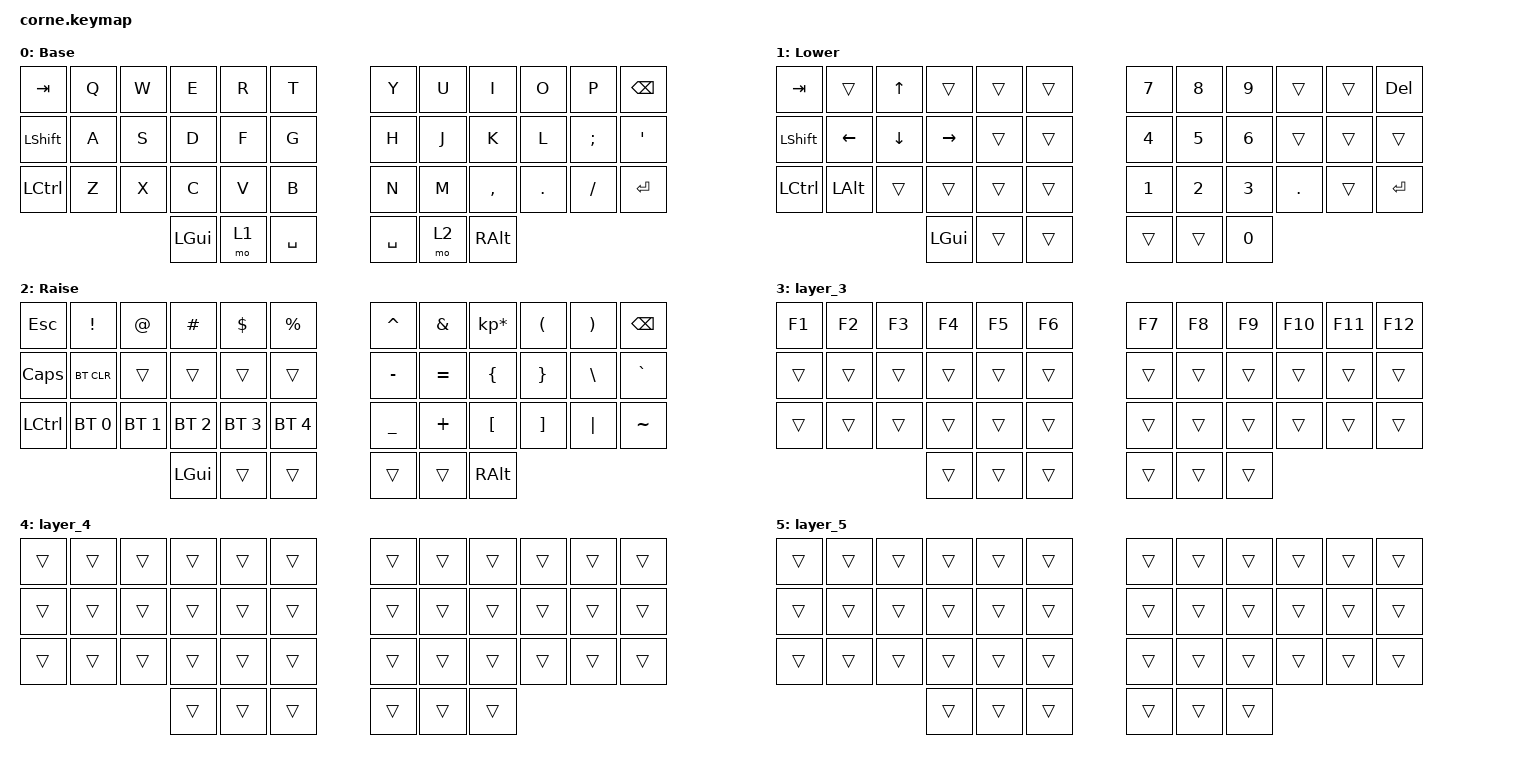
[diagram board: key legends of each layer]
/*
 * Copyright (c) 2020 The ZMK Contributors
 *
 * SPDX-License-Identifier: MIT
 */

#include <behaviors.dtsi>
#include <dt-bindings/zmk/bt.h>
#include <dt-bindings/zmk/keys.h>

/ {
    keymap {
        compatible = "zmk,keymap";

        default_layer {
            // -----------------------------------------------------------------------------------------
            // |  TAB |  Q  |  W  |  E  |  R  |  T  |   |  Y  |  U   |  I  |  O  |  P  | BKSP |
            // | CTRL |  A  |  S  |  D  |  F  |  G  |   |  H  |  J   |  K  |  L  |  ;  |  '   |
            // | SHFT |  Z  |  X  |  C  |  V  |  B  |   |  N  |  M   |  ,  |  .  |  /  | ESC  |
            //                    | GUI | LWR | SPC |   | ENT | RSE  | ALT |

            label = "Base";
            bindings = <
&kp TAB           &kp Q  &kp W  &kp E     &kp R  &kp T        &kp Y      &kp U  &kp I      &kp O    &kp P     &kp BSPC
&kp LSHFT         &kp A  &kp S  &kp D     &kp F  &kp G        &kp H      &kp J  &kp K      &kp L    &kp SEMI  &kp APOSTROPHE
&kp LEFT_CONTROL  &kp Z  &kp X  &kp C     &kp V  &kp B        &kp N      &kp M  &kp COMMA  &kp DOT  &kp FSLH  &kp ENTER
                                &kp LGUI  &mo 1  &kp SPACE    &kp SPACE  &mo 2  &kp RALT
            >;
        };

        lower_layer {
            // -----------------------------------------------------------------------------------------
            // |  TAB |  1  |  2  |  3  |  4  |  5  |   |  6  |  7  |  8  |  9  |  0  | BKSP |
            // | BTCLR| BT1 | BT2 | BT3 | BT4 | BT5 |   | LFT | DWN |  UP | RGT |     |      |
            // | SHFT |     |     |     |     |     |   |     |     |     |     |     |      |
            //                    | GUI |     | SPC |   | ENT |     | ALT |

            label = "Lower";
            bindings = <
&kp TAB         &trans        &kp UP_ARROW  &trans     &trans  &trans    &kp N7        &kp N8        &kp N9        &trans   &trans  &kp DELETE
&kp LEFT_SHIFT  &kp LEFT      &kp DOWN      &kp RIGHT  &trans  &trans    &kp NUMBER_4  &kp N5        &kp NUMBER_6  &trans   &trans  &trans
&kp LCTRL       &kp LEFT_ALT  &trans        &trans     &trans  &trans    &kp NUMBER_1  &kp NUMBER_2  &kp NUMBER_3  &kp DOT  &trans  &kp ENTER
                                            &kp LGUI   &trans  &trans    &trans        &trans        &kp N0
            >;
        };

        raise_layer {
            // -----------------------------------------------------------------------------------------
            // |  TAB |  !  |  @  |  #  |  $  |  %  |   |  ^  |  &  |  *  |  (  |  )  | BKSP |
            // | CTRL |     |     |     |     |     |   |  -  |  =  |  [  |  ]  |  \  |  `   |
            // | SHFT |     |     |     |     |     |   |  _  |  +  |  {  |  }  | "|" |  ~   |
            //                    | GUI |     | SPC |   | ENT |     | ALT |

            label = "Raise";
            bindings = <
&kp ESCAPE  &kp EXCL      &kp AT        &kp HASH      &kp DLLR      &kp PRCNT       &kp CARET  &kp AMPS   &kp KP_MULTIPLY   &kp LPAR           &kp RPAR  &kp BSPC
&kp CAPS    &bt BT_CLR    &trans        &trans        &trans        &trans          &kp MINUS  &kp EQUAL  &kp LEFT_BRACE    &kp RIGHT_BRACE    &kp BSLH  &kp GRAVE
&kp LCTRL   &bt BT_SEL 0  &bt BT_SEL 1  &bt BT_SEL 2  &bt BT_SEL 3  &bt BT_SEL 4    &kp UNDER  &kp PLUS   &kp LEFT_BRACKET  &kp RIGHT_BRACKET  &kp PIPE  &kp TILDE
                                        &kp LGUI      &trans        &trans          &trans     &trans     &kp RALT
            >;
        };

        layer_3 {
            bindings = <
&kp F1  &kp F2  &kp F3  &kp F4  &kp F5  &kp F6    &kp F7  &kp F8  &kp F9  &kp F10  &kp F11  &kp F12
&trans  &trans  &trans  &trans  &trans  &trans    &trans  &trans  &trans  &trans   &trans   &trans
&trans  &trans  &trans  &trans  &trans  &trans    &trans  &trans  &trans  &trans   &trans   &trans
                        &trans  &trans  &trans    &trans  &trans  &trans
            >;
        };

        layer_4 {
            bindings = <
&trans  &trans  &trans  &trans  &trans  &trans    &trans  &trans  &trans  &trans  &trans  &trans
&trans  &trans  &trans  &trans  &trans  &trans    &trans  &trans  &trans  &trans  &trans  &trans
&trans  &trans  &trans  &trans  &trans  &trans    &trans  &trans  &trans  &trans  &trans  &trans
                        &trans  &trans  &trans    &trans  &trans  &trans
            >;
        };

        layer_5 {
            bindings = <
&trans  &trans  &trans  &trans  &trans  &trans    &trans  &trans  &trans  &trans  &trans  &trans
&trans  &trans  &trans  &trans  &trans  &trans    &trans  &trans  &trans  &trans  &trans  &trans
&trans  &trans  &trans  &trans  &trans  &trans    &trans  &trans  &trans  &trans  &trans  &trans
                        &trans  &trans  &trans    &trans  &trans  &trans
            >;
        };
    };
};
